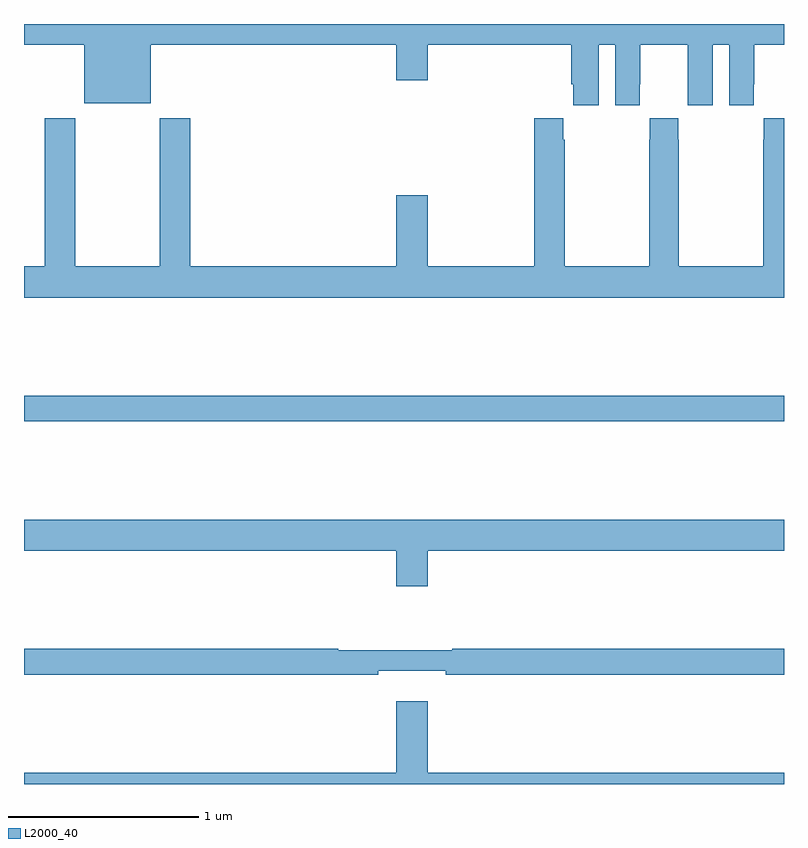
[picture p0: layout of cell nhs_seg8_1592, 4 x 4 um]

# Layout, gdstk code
import gdstk
lib = gdstk.Library(unit=1e-6, precision=1e-09)
def R(c, l, rs):  # rectangles x0, y0, x1, y1
    for r in rs: c.add(gdstk.rectangle(r[:2], r[2:], *l))
def P(c, l, *ps):  # polygons
    for p in ps: c.add(gdstk.Polygon(p, *l))
L2000_40 = (2000, 40)

nhs_seg8_1592 = lib.new_cell('nhs_seg8_1592')
R(nhs_seg8_1592, L2000_40, [(211,1155.808,215,1155.944)])
P(nhs_seg8_1592, L2000_40, [(214.024,1157.792),(214.112,1157.792),(214.112,1157.472),(214.242,1157.472),(214.242,1157.584),(214.243,1157.584),(214.243,1157.792),(214.493,1157.792),(214.493,1157.584),(214.494,1157.584),(214.494,1157.472),(214.624,1157.472),(214.624,1157.792),(214.712,1157.792),(214.712,1157.472),(214.842,1157.472),(214.842,1157.584),(214.843,1157.584),(214.843,1157.792),(215,1157.792),(215,1157.9),(211,1157.9),(211,1157.792),(211.316,1157.792),(211.316,1157.483),(211.666,1157.483),(211.666,1157.792),(212.96,1157.792),(212.96,1157.604),(213.124,1157.604),(213.124,1157.792),(213.881,1157.792),(213.881,1157.584),(213.89,1157.584),(213.89,1157.472),(214.024,1157.472)],
  [(215,1157.404),(214.893,1157.404),(214.893,1157.291),(214.891,1157.291),(214.891,1156.624),(214.446,1156.624),(214.446,1157.291),(214.443,1157.291),(214.443,1157.404),(214.293,1157.404),(214.293,1157.291),(214.291,1157.291),(214.291,1156.624),(213.846,1156.624),(213.846,1157.291),(213.839,1157.291),(213.839,1157.404),(213.686,1157.404),(213.686,1156.624),(213.124,1156.624),(213.124,1156.999),(212.96,1156.999),(212.96,1156.624),(211.874,1156.624),(211.874,1157.404),(211.714,1157.404),(211.714,1156.624),(211.269,1156.624),(211.269,1157.404),(211.109,1157.404),(211.109,1156.624),(211,1156.624),(211,1156.46),(215,1156.46)],
  [(213.124,1155.128),(215,1155.128),(215,1155.292),(211,1155.292),(211,1155.128),(212.96,1155.128),(212.96,1154.94),(213.124,1154.94)],
  [(212.864,1154.495),(213.22,1154.495),(213.22,1154.476),(215,1154.476),(215,1154.612),(213.255,1154.612),(213.255,1154.605),(212.655,1154.605),(212.655,1154.612),(211,1154.612),(211,1154.476),(212.864,1154.476)],
  [(215,1153.96),(213.124,1153.96),(213.124,1154.335),(212.96,1154.335),(212.96,1153.96),(211,1153.96),(211,1153.9),(215,1153.9)])

lib.write_gds('nhs_seg8_1592.gds')
